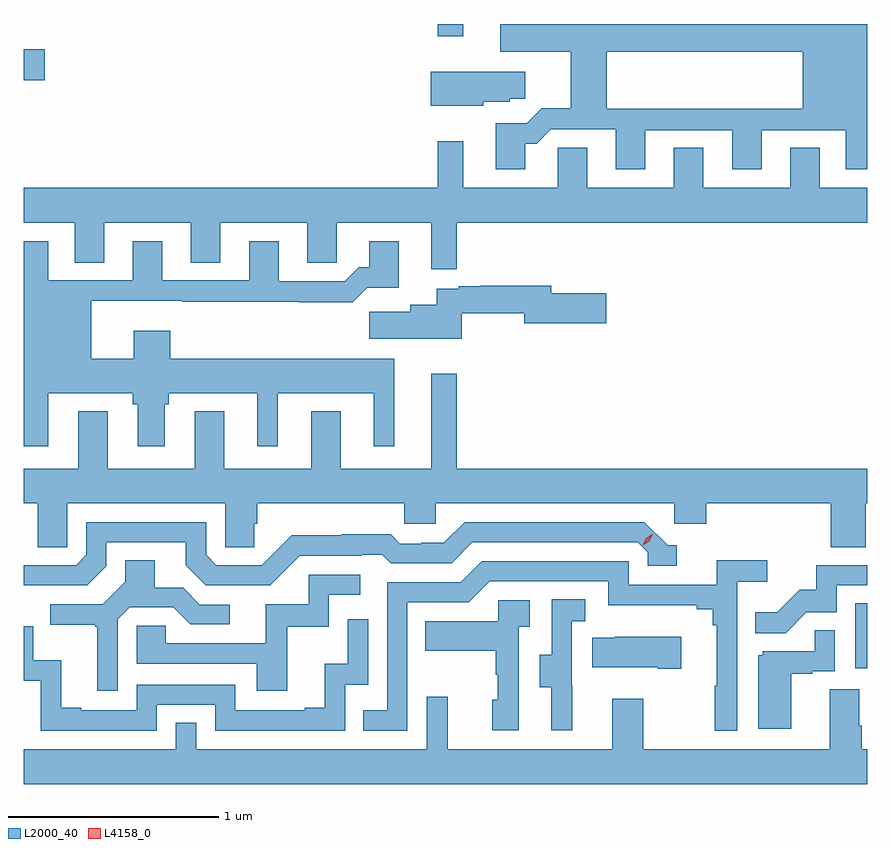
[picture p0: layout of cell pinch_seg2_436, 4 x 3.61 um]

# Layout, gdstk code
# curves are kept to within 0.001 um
import gdstk
lib = gdstk.Library(unit=1e-6, precision=1e-09)
def R(c, l, rs):  # rectangles x0, y0, x1, y1
    for r in rs: c.add(gdstk.rectangle(r[:2], r[2:], *l))
def P(c, l, *ps):  # polygons
    for p in ps: c.add(gdstk.Polygon(p, *l))
L2000_40 = (2000, 40)
L4158_0 = (4158, 0)

pinch_seg2_436 = lib.new_cell('pinch_seg2_436')
R(pinch_seg2_436, L2000_40, [(905.732,609.558,905.787,609.865), (901.787,612.347,901.885,612.494), (903.75,612.555,903.871,612.614)])
P(pinch_seg2_436, L2000_40, [(904.025,612.144),(904.025,611.925),(904.165,611.925),(904.165,612.047),(904.22,612.047),(904.287,612.114),(904.595,612.114),(904.595,611.925),(904.735,611.925),(904.735,612.111),(905.147,612.111),(905.147,611.925),(905.287,611.925),(905.287,612.111),(905.687,612.111),(905.687,611.925),(905.787,611.925),(905.787,612.614),(904.046,612.614),(904.046,612.482),(904.382,612.482),(904.382,612.215),(904.244,612.215),(904.241,612.212),(904.553,612.212),(904.553,612.482),(905.483,612.482),(905.483,612.212),(904.241,612.212),(904.173,612.144)],
  [(903.966,612.245),(904.092,612.245),(904.092,612.259),(904.165,612.259),(904.165,612.388),(903.716,612.388),(903.716,612.227),(903.966,612.227)],
  [(903.84,611.672),(905.787,611.672),(905.787,611.836),(905.563,611.836),(905.563,612.026),(905.423,612.026),(905.423,611.836),(905.011,611.836),(905.011,612.026),(904.871,612.026),(904.871,611.836),(904.459,611.836),(904.459,612.026),(904.32,612.026),(904.32,611.836),(903.871,611.836),(903.871,612.058),(903.75,612.058),(903.75,611.836),(901.787,611.836),(901.787,611.672),(902.027,611.672),(902.027,611.482),(902.167,611.482),(902.167,611.672),(902.579,611.672),(902.579,611.482),(902.719,611.482),(902.719,611.672),(903.131,611.672),(903.131,611.482),(903.27,611.482),(903.27,611.672),(903.719,611.672),(903.719,611.451),(903.84,611.451)],
  [(901.903,610.862),(902.302,610.862),(902.302,610.809),(902.327,610.809),(902.327,610.611),(902.455,610.611),(902.455,610.809),(902.475,610.809),(902.475,610.862),(902.894,610.862),(902.894,610.611),(902.992,610.611),(902.992,610.862),(903.446,610.862),(903.446,610.611),(903.544,610.611),(903.544,611.026),(902.48,611.026),(902.48,611.158),(902.309,611.158),(902.309,611.026),(902.107,611.026),(902.107,611.3),(902.539,611.3),(902.539,611.296),(903.091,611.296),(903.091,611.294),(903.347,611.294),(903.416,611.363),(903.565,611.363),(903.565,611.584),(903.425,611.584),(903.425,611.461),(903.376,611.461),(903.309,611.394),(902.995,611.394),(902.995,611.584),(902.855,611.584),(902.855,611.397),(902.443,611.397),(902.443,611.584),(902.303,611.584),(902.303,611.397),(901.903,611.397),(901.903,611.584),(901.787,611.584),(901.787,610.611),(901.903,610.611)],
  [(903.864,611.242),(904.16,611.242),(904.16,611.195),(904.549,611.195),(904.549,611.337),(904.288,611.337),(904.288,611.371),(903.952,611.371),(903.952,611.37),(903.85,611.37),(903.85,611.358),(903.746,611.358),(903.746,611.281),(903.62,611.281),(903.62,611.249),(903.426,611.249),(903.426,611.12),(903.864,611.12)],
  [(901.992,610.34),(902.742,610.34),(902.742,610.132),(902.879,610.132),(902.879,610.242),(902.894,610.242),(902.894,610.34),(903.591,610.34),(903.591,610.242),(903.741,610.242),(903.741,610.34),(904.872,610.34),(904.872,610.242),(905.024,610.242),(905.024,610.34),(905.615,610.34),(905.615,610.132),(905.78,610.132),(905.78,610.34),(905.787,610.34),(905.787,610.504),(903.841,610.504),(903.841,610.954),(903.719,610.954),(903.719,610.504),(903.289,610.504),(903.289,610.777),(903.149,610.777),(903.149,610.504),(902.737,610.504),(902.737,610.777),(902.597,610.777),(902.597,610.504),(902.185,610.504),(902.185,610.777),(902.045,610.777),(902.045,610.504),(901.787,610.504),(901.787,610.34),(901.853,610.34),(901.853,610.132),(901.992,610.132)],
  [(901.872,609.951),(902.088,609.951),(902.178,610.041),(902.178,610.155),(902.555,610.155),(902.555,610.045),(902.649,609.951),(902.955,609.951),(903.096,610.092),(903.389,610.092),(903.389,610.095),(903.488,610.095),(903.527,610.056),(903.816,610.056),(903.915,610.155),(904.698,610.155),(904.746,610.107),(904.746,610.044),(904.885,610.044),(904.885,610.14),(904.842,610.14),(904.731,610.251),(903.878,610.251),(903.779,610.152),(903.672,610.152),(903.672,610.149),(903.569,610.149),(903.527,610.192),(903.294,610.192),(903.294,610.189),(903.058,610.189),(902.916,610.047),(902.7,610.047),(902.652,610.095),(902.652,610.251),(902.082,610.251),(902.082,610.095),(902.034,610.047),(901.787,610.047),(901.787,609.95)],
  [(903.606,609.87),(903.897,609.87),(903.996,609.969),(904.56,609.969),(904.56,609.857),(904.979,609.857),(904.979,609.838),(905.056,609.838),(905.056,609.761),(905.075,609.761),(905.075,609.473),(905.064,609.473),(905.064,609.261),(905.172,609.261),(905.172,609.968),(905.314,609.968),(905.314,610.07),(905.075,610.07),(905.075,609.954),(904.656,609.954),(904.656,610.065),(903.959,610.065),(903.86,609.966),(903.51,609.966),(903.51,609.357),(903.397,609.357),(903.397,609.261),(903.606,609.261)],
  [(902.232,609.789),(902.289,609.846),(902.495,609.846),(902.576,609.765),(902.764,609.765),(902.764,609.858),(902.622,609.858),(902.542,609.938),(902.407,609.938),(902.407,610.07),(902.267,610.07),(902.267,609.968),(902.16,609.861),(901.911,609.861),(901.911,609.764),(902.124,609.764),(902.124,609.753),(902.135,609.753),(902.135,609.45),(902.232,609.45)],
  [(905.499,609.822),(905.643,609.822),(905.643,609.951),(905.787,609.951),(905.787,610.047),(905.545,610.047),(905.545,609.93),(905.468,609.93),(905.361,609.823),(905.257,609.823),(905.257,609.724),(905.401,609.724)],
  [(903.035,609.753),(903.234,609.753),(903.234,609.906),(903.382,609.906),(903.382,610.002),(903.138,610.002),(903.138,609.861),(902.933,609.861),(902.933,609.675),(902.459,609.675),(902.459,609.759),(902.322,609.759),(902.322,609.579),(902.891,609.579),(902.891,609.45),(903.035,609.45)],
  [(904.388,609.477),(904.386,609.477),(904.386,609.781),(904.45,609.781),(904.45,609.884),(904.29,609.884),(904.29,609.621),(904.235,609.621),(904.235,609.466),(904.289,609.466),(904.289,609.264),(904.388,609.264)],
  [(904.134,609.755),(904.186,609.755),(904.186,609.879),(904.038,609.879),(904.038,609.781),(903.691,609.781),(903.691,609.641),(904.026,609.641),(904.026,609.527),(904.036,609.527),(904.036,609.408),(904.01,609.408),(904.01,609.264),(904.134,609.264)],
  [(902.418,609.384),(902.694,609.384),(902.694,609.261),(903.312,609.261),(903.312,609.48),(903.42,609.48),(903.42,609.79),(903.324,609.79),(903.324,609.578),(903.215,609.578),(903.215,609.37),(903.119,609.37),(903.119,609.357),(902.79,609.357),(902.79,609.48),(902.322,609.48),(902.322,609.357),(902.059,609.357),(902.059,609.37),(901.963,609.37),(901.963,609.595),(901.83,609.595),(901.83,609.756),(901.787,609.756),(901.787,609.497),(901.866,609.497),(901.866,609.261),(902.418,609.261)],
  [(905.428,609.531),(905.528,609.531),(905.528,609.543),(905.634,609.543),(905.634,609.737),(905.539,609.737),(905.539,609.639),(905.292,609.639),(905.292,609.618),(905.27,609.618),(905.27,609.27),(905.428,609.27)],
  [(904.906,609.706),(904.591,609.706),(904.591,609.703),(904.483,609.703),(904.483,609.563),(904.793,609.563),(904.793,609.556),(904.906,609.556)],
  [(905.787,609.172),(905.762,609.172),(905.762,609.284),(905.749,609.284),(905.749,609.458),(905.609,609.458),(905.609,609.172),(904.725,609.172),(904.725,609.412),(904.577,609.412),(904.577,609.172),(903.797,609.172),(903.797,609.421),(903.699,609.421),(903.699,609.172),(902.604,609.172),(902.604,609.299),(902.508,609.299),(902.508,609.172),(901.787,609.172),(901.787,609.008),(905.787,609.008)])
P(pinch_seg2_436, L4158_0, [(904.723,610.14),(904.723,610.14),(904.739,610.173),(904.769,610.193),(904.77,610.193),(904.77,610.192),(904.754,610.16),(904.724,610.14)])

lib.write_gds('pinch_seg2_436.gds')
